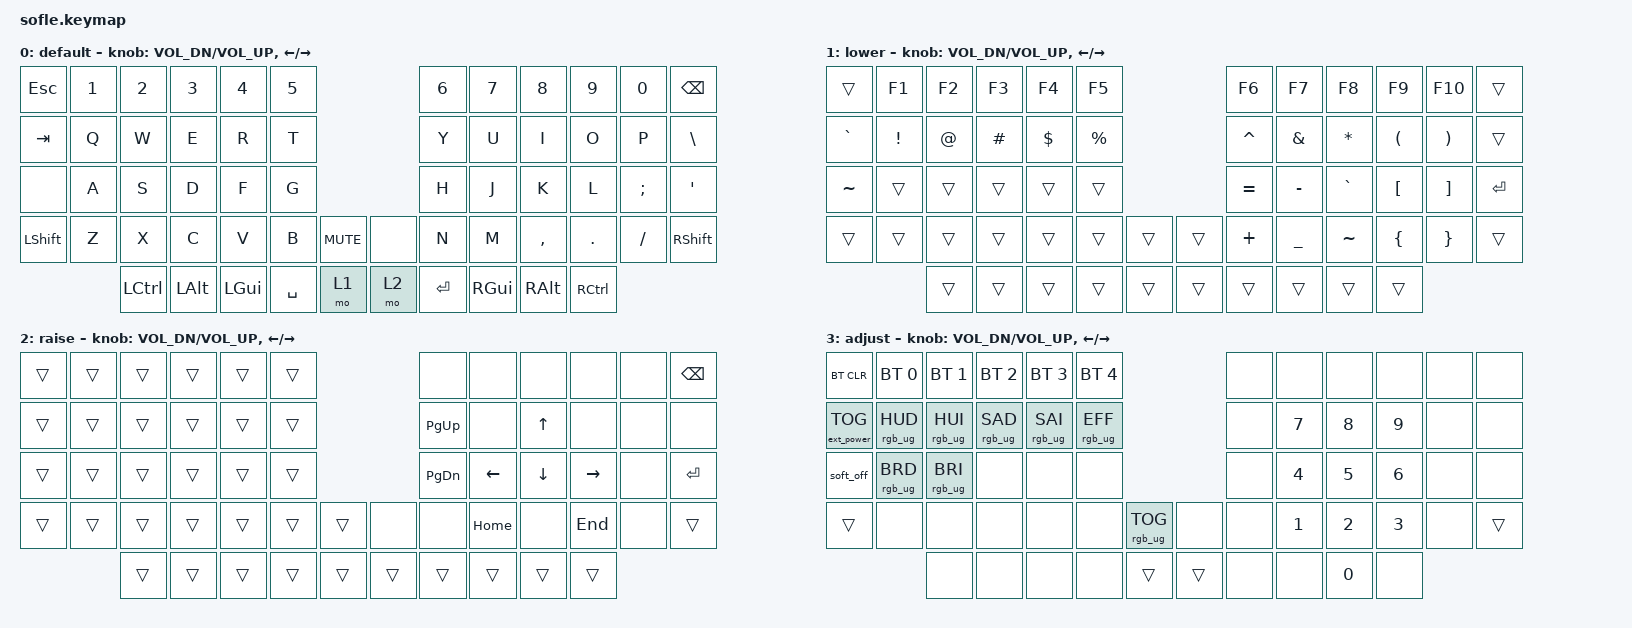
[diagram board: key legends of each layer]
/*
 * Copyright (c) 2020 The ZMK Contributors
 *
 * SPDX-License-Identifier: MIT
 */

#include <behaviors.dtsi>
#include <dt-bindings/zmk/keys.h>
#include <dt-bindings/zmk/bt.h>
#include <dt-bindings/zmk/ext_power.h>
#include <dt-bindings/zmk/rgb.h>

/ {

    keymap {
        compatible = "zmk,keymap";

        default_layer {
            display-name = "default";
// ------------------------------------------------------------------------------------------------------------
// |  ESC  |  1  |  2  |  3   |  4   |  5   |                   |  6   |  7    |  8    |  9   |   0   | BKSPC |
// |  TAB  |  Q  |  W  |  E   |  R   |  T   |                   |  Y   |  U    |  I    |  O   |   P   |   \   |
// |       |  A  |  S  |  D   |  F   |  G   |                   |  H   |  J    |  K    |  L   |   ;   |   '   |
// | SHIFT |  Z  |  X  |  C   |  V   |  B   |  MUTE  |  |       |  N   |  M    |  ,    |  .   |   /   | SHIFT |
//               | CTRL| ALT  | GUI  | SPACE|  LOWER |  | RAISE | ENTER|  -    |       |      |
            bindings = <
&kp ESC   &kp N1 &kp N2   &kp N3   &kp N4    &kp N5                           &kp N6    &kp N7    &kp N8    &kp N9   &kp N0   &kp BSPC
&kp TAB   &kp Q  &kp W    &kp E    &kp R     &kp T                            &kp Y     &kp U     &kp I     &kp O    &kp P    &kp BSLH
&none     &kp A  &kp S    &kp D    &kp F     &kp G                            &kp H     &kp J     &kp K     &kp L    &kp SEMI &kp SQT
&kp LSHFT &kp Z  &kp X    &kp C    &kp V     &kp B      &kp C_MUTE &none      &kp N     &kp M     &kp COMMA &kp DOT  &kp FSLH &kp RSHFT
                 &kp LCTRL &kp LALT &kp LGUI &kp SPACE  &mo 1      &mo 2      &kp ENTER &kp RGUI  &kp RALT  &kp RCTRL
            >;

            sensor-bindings = <&inc_dec_kp C_VOL_DN C_VOL_UP &inc_dec_kp LEFT RIGHT>;
        };  

        lower_layer {
            display-name = "lower";
// TODO: Some binds are waiting for shifted keycode support.
// ------------------------------------------------------------------------------------------------------------
// |       |  F1 |  F2 |  F3  |  F4  |  F5  |                   |  F6  |  F7   |  F8   |  F9  |  F10  | BKSPC |
// |   `   |  !  |  @  |  #   |  $   |  %   |                   |  ^   |  &    |  *    |  (   |   )   |       |
// |   ~   |     |     |      |      |      |                   |  =   |  -    |  `    |  [   |   ]   | ENTER |
// |       |     |     |      |      |      |        |  |       |  +   |  _    |  ~    |  {   |   }   |       |
//               |     |      |      |      |        |  |       |      |       |       |      |
            bindings = <
&trans    &kp F1    &kp F2    &kp F3      &kp F4    &kp F5                     &kp F6    &kp F7     &kp F8     &kp F9    &kp F10   &trans
&kp GRAVE &kp EXCL  &kp AT    &kp HASH    &kp DLLR  &kp PRCNT                  &kp CARET &kp AMPS   &kp ASTRK  &kp LPAR  &kp RPAR  &trans
&kp TILDE &trans    &trans    &trans      &trans    &trans                     &kp EQUAL &kp MINUS  &kp GRAVE  &kp LBKT  &kp RBKT  &kp ENTER
&trans    &trans    &trans    &trans      &trans    &trans     &trans  &trans  &kp PLUS  &kp UNDER  &kp TILDE  &kp LBRC  &kp RBRC  &trans
                    &trans    &trans      &trans    &trans     &trans  &trans  &trans    &trans     &trans     &trans
            >;

            sensor-bindings = <&inc_dec_kp C_VOL_DN C_VOL_UP &inc_dec_kp LEFT RIGHT>;
        };

        raise_layer {
            display-name = "raise";
// ------------------------------------------------------------------------------------------------------------
// |       |      |      |       |       |      |                |      |      |       |      |       | BKSPC |
// |       |      |      |       |       |      |                | PGUP |      |   ^   |      |       |       |
// |       |      |      |       |       |      |                | PGDN |   <- |   v   |  ->  |       | ENTER |
// |       |      |      |       |       |      |      |  |      |      | HOME |       |  END |       |       |
//                |      |       |       |      |      |  |      |      |      |       |      |
            bindings = <
&trans     &trans       &trans       &trans       &trans       &trans                              &none             &none      &none    &none       &none   &kp BSPC
&trans     &trans       &trans       &trans       &trans       &trans                              &kp PG_UP         &none      &kp UP   &none       &none   &none
&trans     &trans       &trans       &trans       &trans       &trans                              &kp PG_DN         &kp LEFT   &kp DOWN &kp RIGHT   &none   &kp ENTER
&trans     &trans       &trans       &trans       &trans       &trans        &trans   &none        &none             &kp HOME   &none    &kp END     &none   &trans
                        &trans       &trans       &trans       &trans        &trans  &trans        &trans            &trans     &trans   &trans
            >;

            sensor-bindings = <&inc_dec_kp C_VOL_DN C_VOL_UP &inc_dec_kp LEFT RIGHT>;
        };

        adjust_layer {
// ----------------------------------------------------------------------------------------------------------------------------
// | BTCLR  |  BT1    |  BT2    |   BT3   |   BT4   |   BT5   |                  |      |      |      |      |       |       |
// | EXTPWR | RGB_HUD | RGB_HUI | RGB_SAD | RGB_SAI | RGB_EFF |                  |      |  7   |   8  |   9  |       |       |
// |        | RGB_BRD | RGB_BRI |         |         |         |                  |      |  4   |   5  |   6  |       |       |
// |        |         |         |         |         |         | RGB_TOG | |      |      |  1   |   2  |   3  |       |       |
//                    |         |         |         |         |         | |      |      |      |   0  |      |
            display-name = "adjust";
            bindings = <
&bt BT_CLR        &bt BT_SEL 0    &bt BT_SEL 1    &bt BT_SEL 2    &bt BT_SEL 3    &bt BT_SEL 4                            &none &none  &none  &none  &none &none
&ext_power EP_TOG &rgb_ug RGB_HUD &rgb_ug RGB_HUI &rgb_ug RGB_SAD &rgb_ug RGB_SAI &rgb_ug RGB_EFF                         &none &kp N7 &kp N8 &kp N9 &none &none
&soft_off         &rgb_ug RGB_BRD &rgb_ug RGB_BRI &none           &none           &none                                   &none &kp N4 &kp N5 &kp N6 &none &none
&trans            &none           &none           &none           &none           &none            &rgb_ug RGB_TOG &none  &none &kp N1 &kp N2 &kp N3 &none &trans
                                  &none           &none           &none           &none            &trans          &trans &none &none  &kp N0 &none
            >;

            sensor-bindings = <&inc_dec_kp C_VOL_DN C_VOL_UP &inc_dec_kp LEFT RIGHT>;
        };

    };
};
